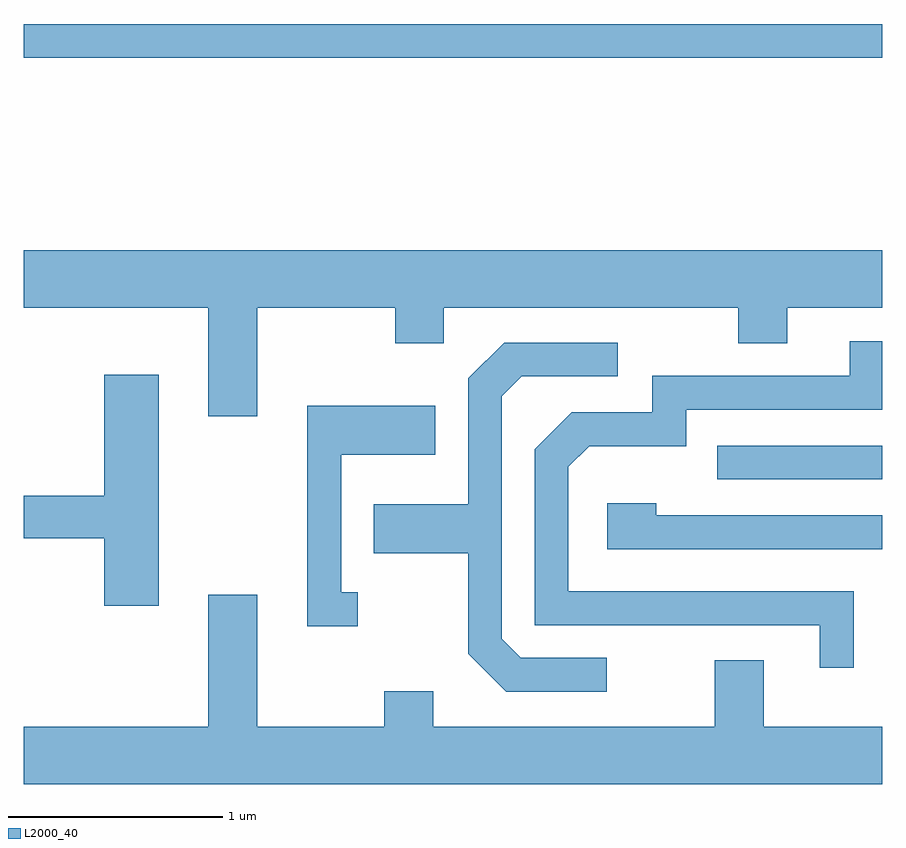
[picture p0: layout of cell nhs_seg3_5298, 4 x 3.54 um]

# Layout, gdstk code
import gdstk
lib = gdstk.Library(unit=1e-6, precision=1e-09)
def R(c, l, rs):  # rectangles x0, y0, x1, y1
    for r in rs: c.add(gdstk.rectangle(r[:2], r[2:], *l))
def P(c, l, *ps):  # polygons
    for p in ps: c.add(gdstk.Polygon(p, *l))
L2000_40 = (2000, 40)

nhs_seg3_5298 = lib.new_cell('nhs_seg3_5298')
R(nhs_seg3_5298, L2000_40, [(342.843,1249.536,343.611,1249.694), (339.611,1251.501,343.611,1251.659)])
P(nhs_seg3_5298, L2000_40, [(340.699,1250.336),(341.341,1250.336),(341.341,1250.171),(341.569,1250.171),(341.569,1250.336),(342.941,1250.336),(342.941,1250.171),(343.169,1250.171),(343.169,1250.336),(343.611,1250.336),(343.611,1250.604),(339.611,1250.604),(339.611,1250.336),(340.471,1250.336),(340.471,1249.831),(340.699,1249.831)],
  [(343.479,1249.014),(342.149,1249.014),(342.149,1249.594),(342.247,1249.691),(342.699,1249.691),(342.699,1249.861),(343.611,1249.861),(343.611,1250.179),(343.461,1250.179),(343.461,1250.019),(342.541,1250.019),(342.541,1249.849),(342.164,1249.849),(341.991,1249.677),(341.991,1248.856),(343.321,1248.856),(343.321,1248.658),(343.479,1248.658)],
  [(342.328,1248.704),(341.927,1248.704),(341.839,1248.792),(341.839,1249.924),(341.932,1250.016),(342.378,1250.016),(342.378,1250.174),(341.849,1250.174),(341.681,1250.007),(341.681,1249.419),(341.241,1249.419),(341.241,1249.191),(341.681,1249.191),(341.681,1248.724),(341.859,1248.546),(342.328,1248.546)],
  [(340.239,1250.024),(339.986,1250.024),(339.986,1249.459),(339.611,1249.459),(339.611,1249.261),(339.986,1249.261),(339.986,1248.946),(340.239,1248.946)],
  [(341.168,1249.009),(341.089,1249.009),(341.089,1249.651),(341.529,1249.651),(341.529,1249.879),(340.931,1249.879),(340.931,1248.851),(341.168,1248.851)],
  [(343.611,1249.369),(342.559,1249.369),(342.559,1249.424),(342.331,1249.424),(342.331,1249.211),(343.611,1249.211)],
  [(343.611,1248.384),(343.059,1248.384),(343.059,1248.694),(342.831,1248.694),(342.831,1248.384),(341.519,1248.384),(341.519,1248.549),(341.291,1248.549),(341.291,1248.384),(340.699,1248.384),(340.699,1248.999),(340.471,1248.999),(340.471,1248.384),(339.611,1248.384),(339.611,1248.116),(343.611,1248.116)])

lib.write_gds('nhs_seg3_5298.gds')
